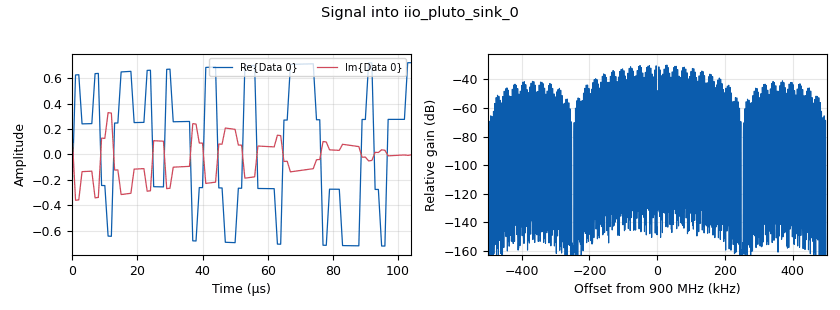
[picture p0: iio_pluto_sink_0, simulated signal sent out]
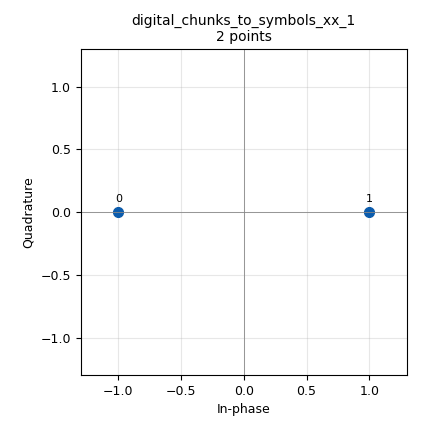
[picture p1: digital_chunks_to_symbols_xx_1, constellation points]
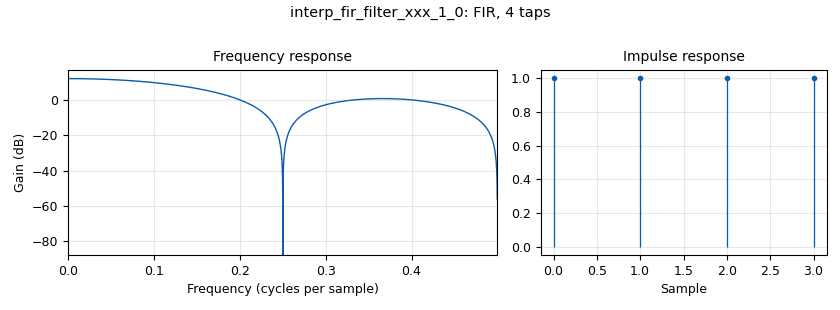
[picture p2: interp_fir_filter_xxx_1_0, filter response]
options:
  parameters:
    author: wes
    generate_options: qt_gui
    id: lab4_random
    output_language: python
    title: Lab 4
  states: {}

blocks:
- name: PLL_ON
  id: variable_qtgui_chooser
  parameters:
    gui_hint: 13,1,1,1
    label: PLL Select
    label0: PLL ON
    label1: PLL OFF
    num_opts: '2'
    option1: '1'
    type: int
    value: '0'
  states: {}
- name: axis
  id: variable
  parameters:
    value: '2'
  states: {}
- name: buff_size
  id: variable
  parameters:
    value: '32768'
  states: {}
- name: bw
  id: variable
  parameters:
    value: '1'
  states: {}
- name: const_bpsk
  id: variable_constellation
  parameters:
    const_points: digital.psk_2()[0]
    dims: '1'
    precision: '8'
    rot_sym: '2'
    sym_map: digital.psk_2()[1]
    type: calcdist
  states: {}
- name: const_qpsk
  id: variable_constellation
  parameters:
    const_points: digital.psk_4()[0]
    dims: '1'
    precision: '8'
    rot_sym: '4'
    sym_map: digital.psk_4()[1]
    type: calcdist
  states: {}
- name: delay
  id: variable_qtgui_range
  parameters:
    gui_hint: 11, 1,1,1
    label: Delay (samples)
    orient: Qt.Horizontal
    start: '0'
    step: '1'
    stop: delay_limit
    value: '0'
  states: {state: disabled}
- name: delay
  id: variable
  parameters:
    value: rand.randint(10,delay_limit-10)
  states: {}
- name: delay_iir
  id: variable_qtgui_range
  parameters:
    gui_hint: 14, 1,1,1
    label: Equalizer Delay (samples)
    orient: Qt.Horizontal
    start: '1'
    step: '1'
    stop: delay_limit
    value: '1'
  states: {}
- name: delay_limit
  id: variable
  parameters:
    value: '64'
  states: {}
- name: echo_gain
  id: variable_qtgui_range
  parameters:
    gui_hint: 11, 0,1,1
    label: Echo Path Gain (A)
    orient: Qt.Horizontal
    start: '0'
    step: '0.01'
    stop: '1'
    value: '0'
  states: {state: disabled}
- name: echo_gain
  id: variable
  parameters:
    value: rand.uniform(0.2,0.9)
  states: {}
- name: echo_gain_iir
  id: variable_qtgui_range
  parameters:
    gui_hint: 14, 0,1,1
    label: Equalizer Gain (A)
    orient: Qt.Horizontal
    start: '0'
    step: '0.01'
    stop: '1'
    value: '0'
  states: {}
- name: equalize_on
  id: variable_qtgui_chooser
  parameters:
    gui_hint: 13,0,1,1
    label: Equalizer Select
    label0: Equalizer Off
    label1: Equalizer On
    num_opts: '2'
    option1: '1'
    type: int
    value: '0'
  states: {}
- name: fo
  id: variable_qtgui_range
  parameters:
    gui_hint: 12,0,1,1
    label: Frequency Offset (Hz)
    orient: Qt.Horizontal
    start: '-10000'
    step: '1'
    stop: '10000'
    value: '800'
  states: {}
- name: fps
  id: variable
  parameters:
    value: '30'
  states: {}
- name: freqc
  id: variable
  parameters:
    value: '900'
  states: {}
- name: freqc_
  id: variable_qtgui_range
  parameters:
    gui_hint: 10, 0,1,1
    label: Carrier (MHz)
    orient: Qt.Horizontal
    start: '70'
    step: '.01'
    stop: '6000'
    value: freqc
  states: {}
- name: gain_
  id: variable_qtgui_range
  parameters:
    gui_hint: 10, 1,1,1
    label: Gain (Amp)
    orient: Qt.Horizontal
    start: '0.1'
    step: '0.01'
    stop: '1'
    value: '0.5'
  states: {}
- name: h_filt
  id: variable
  parameters:
    value: '[1,1,1,1]'
  states: {}
- name: iir_taps
  id: variable
  parameters:
    value: iir_taps_2
  states: {}
- name: iir_taps_2
  id: variable
  parameters:
    value: np.concatenate( ([1], np.zeros(int(delay_iir-1)),[-echo_gain_iir],np.zeros(int(delay_limit-delay_iir)))     )
  states: {}
- name: lw
  id: variable
  parameters:
    value: '2'
  states: {}
- name: phase_shift
  id: variable_qtgui_check_box
  parameters:
    'false': '0'
    gui_hint: 12,1,1,1
    label: PI Phase Shift
    'true': '1'
    type: int
    value: '1'
  states: {}
- name: pn5
  id: variable
  parameters:
    value: '[1,-1,1,-1,1, 1, 1, -1, 1, 1, -1, -1, -1, 1, 1, 1, 1, 1, -1, -1, 1, 1, -1, 1, -1, -1, 1, -1, -1, -1, -1]'
  states: {}
- name: pn5_up
  id: variable
  parameters:
    value: sp.upfirdn( h_filt, pn5, sps )
  states: {}
- name: pn6
  id: variable
  parameters:
    value: '[1, 1, 1, 1, 1, 1, -1, 1, -1, 1, -1, 1, 1, -1, -1, 1, 1, -1, 1, 1, 1, -1, 1, 1, -1, 1, -1, -1, 1, -1, -1, 1, 1, 1, -1, -1, -1, 1, -1, 1, 1, 1, 1, -1, -1, 1, -1, 1, -1, -1, -1, 1, 1, -1, -1, -1, -1, 1, -1, -1, -1 -1 -1] '
  states: {}
- name: pn6_up
  id: variable
  parameters:
    value: sp.upfirdn( h_filt, pn6, sps )
  states: {}
- name: samp_rate
  id: variable
  parameters:
    value: '1000'
  states: {}
- name: sps
  id: variable
  parameters:
    value: '4'
  states: {}
- name: analog_agc_xx_0
  id: analog_agc_xx
  parameters:
    gain: '1.0'
    max_gain: '65536'
    rate: '1e-4'
    reference: '1.0'
    type: complex
  states: {}
- name: analog_sig_source_x_0
  id: analog_sig_source_x
  parameters:
    amp: '1'
    freq: fo
    offset: '0'
    phase: '0'
    samp_rate: samp_rate*1000
    type: complex
    waveform: analog.GR_COS_WAVE
  states: {}
- name: blocks_add_xx_0
  id: blocks_add_xx
  parameters:
    type: complex
  states: {}
- name: blocks_complex_to_real_0
  id: blocks_complex_to_real
  parameters: {}
  states: {}
- name: blocks_delay_0
  id: blocks_delay
  parameters:
    delay: delay
    type: complex
  states: {}
- name: blocks_multiply_const_vxx_0
  id: blocks_multiply_const_vxx
  parameters:
    const: 'gain_ '
    type: complex
  states: {}
- name: blocks_multiply_const_vxx_1
  id: blocks_multiply_const_vxx
  parameters:
    const: echo_gain
    type: complex
  states: {}
- name: blocks_multiply_const_vxx_2
  id: blocks_multiply_const_vxx
  parameters:
    const: (1/63/sps)*np.exp(1j*pi*phase_shift)
    type: complex
  states: {}
- name: blocks_multiply_xx_0
  id: blocks_multiply_xx
  parameters:
    type: complex
  states: {}
- name: blocks_null_sink_0
  id: blocks_null_sink
  parameters:
    type: complex
  states: {}
- name: blocks_selector_0
  id: blocks_selector
  parameters:
    enabled: 'True'
    input_index: PLL_ON
    num_inputs: '2'
    num_outputs: '1'
    output_index: '0'
    type: complex
  states: {}
- name: blocks_selector_0_0
  id: blocks_selector
  parameters:
    enabled: 'True'
    input_index: equalize_on
    num_inputs: '2'
    num_outputs: '1'
    output_index: '0'
    type: complex
  states: {}
- name: blocks_tag_gate_0
  id: blocks_tag_gate
  parameters:
    propagate_tags: 'False'
    single_key: '"amp_est"'
    type: complex
  states: {}
- name: blocks_tag_gate_0_0
  id: blocks_tag_gate
  parameters:
    propagate_tags: 'False'
    single_key: '"corr_est"'
    type: complex
  states: {}
- name: blocks_tag_gate_0_0_0
  id: blocks_tag_gate
  parameters:
    propagate_tags: 'False'
    single_key: '"time_est"'
    type: complex
  states: {}
- name: digital_chunks_to_symbols_xx_1
  id: digital_chunks_to_symbols_xx
  parameters:
    dimension: '1'
    in_type: byte
    out_type: complex
    symbol_table: const_bpsk.points()
  states: {}
- name: digital_corr_est_cc_0
  id: digital_corr_est_cc
  parameters:
    mark_delay: '0'
    sps: sps
    symbols: pn6_up
    threshold: '0.7'
    threshold_method: digital.THRESHOLD_ABSOLUTE
  states: {}
- name: digital_costas_loop_cc_0
  id: digital_costas_loop_cc
  parameters:
    order: '2'
    w: 3.14/100
  states: {}
- name: digital_glfsr_source_x_0
  id: digital_glfsr_source_x
  parameters:
    degree: '6'
    mask: '0'
    repeat: 'True'
    seed: '1'
    type: byte
  states: {}
- name: epy_module_0
  id: epy_module
  parameters:
    source_code: |
      import sys
      import os

      # run the command to generate usb.dat
      cmd1 = 'iio_info -s | grep "usb" | awk \'{print $9}\' | awk -F[ \'{print $2}\' | awk -F] \'{print $1}\' > usb.dat'
      os.system(cmd1)

      # open usb.dat and print its entries
      f = open('usb.dat','r')

      strUSB = f.readlines()                  # read all the lines from iio_info -s
      num_devices = len(strUSB)-1             # get the number of devices

      # clean-up
      f.close()                               # close file once we're done.

      # remove file
      cmd2 = 'rm usb.dat'
      os.system(cmd2)


      if num_devices > 0:
          strUSB = strUSB[1:]

          for n in range(num_devices):
              strUSB[n] = strUSB[n].rstrip()  # strip the "\n" chars out

          TX = strUSB[0]
          RX = strUSB[1]

          print('TX set to Pluto: ' + TX)
          print('Rx set to Pluto: ' + RX)
      else:
          print('No Devices Found!')

      print('\n')

      #print(strUSB)                           # debug print          
  states: {}
- name: iio_pluto_sink_0
  id: iio_pluto_sink
  parameters:
    attenuation1: '10.0'
    auto_filter: 'True'
    bandwidth: '20000000'
    buffer_size: buff_size
    cyclic: 'False'
    frequency: int(freqc_*1e6)
    samplerate: int(samp_rate*1000)
    uri: epy_module_0.TX
  states: {}
- name: iio_pluto_source_0
  id: iio_pluto_source
  parameters:
    auto_filter: 'True'
    bandwidth: '20000000'
    bbdc: 'True'
    buffer_size: buff_size
    frequency: int(freqc_*1e6)
    gain1: '''manual'''
    manual_gain1: '32'
    quadrature: 'True'
    rfdc: 'True'
    samplerate: int(samp_rate*1000)
    uri: epy_module_0.RX
  states: {}
- name: iir_filter_xxx_0
  id: iir_filter_xxx
  parameters:
    fbtaps: iir_taps
    fftaps: (1)
    type: ccz
  states: {}
- name: import_0
  id: import
  parameters:
    imports: import random as rand
  states: {}
- name: import_1
  id: import
  parameters:
    imports: import numpy as np
  states: {}
- name: import_1_0
  id: import
  parameters:
    imports: from math import pi
  states: {}
- name: import_1_1
  id: import
  parameters:
    imports: from scipy import signal as sp
  states: {}
- name: interp_fir_filter_xxx_1_0
  id: interp_fir_filter_xxx
  parameters:
    interp: sps
    taps: (1,1,1,1)
    type: ccc
  states: {}
- name: qtgui_freq_sink_x_0
  id: qtgui_freq_sink_x
  parameters:
    affinity: '0'
    bw: samp_rate*1e3
    ctrlpanel: 'True'
    fc: '0'
    fftsize: '4096'
    grid: 'True'
    gui_hint: tab0@1:5,0,5,1
    label1: In-Phase
    type: complex
    update_time: 1/fps
    wintype: firdes.WIN_BLACKMAN_hARRIS
  states: {}
- name: qtgui_time_sink_x_0_0
  id: qtgui_time_sink_x
  parameters:
    ctrlpanel: 'True'
    grid: 'True'
    gui_hint: tab0@0:5,0,5,1
    name: '"Cross Correlation"'
    size: '4096'
    srate: samp_rate*1000
    type: float
    ymax: '2'
    ymin: '-2'
  states: {}
- name: tab0
  id: qtgui_tab_widget
  parameters:
    gui_hint: 0,0,10,2
    label0: Cross-Correlation
    label1: Spectrum
    num_tabs: '2'
  states: {}
- name: virtual_sink_0
  id: virtual_sink
  parameters:
    stream_id: xcorr_out
  states: {}
- name: virtual_source_0
  id: virtual_source
  parameters:
    stream_id: xcorr_out
  states: {}

connections:
- [analog_agc_xx_0, '0', blocks_selector_0, '1']
- [analog_agc_xx_0, '0', digital_costas_loop_cc_0, '0']
- [analog_sig_source_x_0, '0', blocks_multiply_xx_0, '1']
- [blocks_add_xx_0, '0', blocks_multiply_const_vxx_0, '0']
- [blocks_complex_to_real_0, '0', qtgui_time_sink_x_0_0, '0']
- [blocks_delay_0, '0', blocks_multiply_const_vxx_1, '0']
- [blocks_multiply_const_vxx_0, '0', blocks_multiply_xx_0, '0']
- [blocks_multiply_const_vxx_1, '0', blocks_add_xx_0, '1']
- [blocks_multiply_const_vxx_2, '0', blocks_tag_gate_0, '0']
- [blocks_multiply_xx_0, '0', iio_pluto_sink_0, '0']
- [blocks_selector_0, '0', blocks_selector_0_0, '0']
- [blocks_selector_0, '0', iir_filter_xxx_0, '0']
- [blocks_selector_0_0, '0', digital_corr_est_cc_0, '0']
- [blocks_selector_0_0, '0', qtgui_freq_sink_x_0, '0']
- [blocks_tag_gate_0, '0', blocks_tag_gate_0_0, '0']
- [blocks_tag_gate_0_0, '0', blocks_tag_gate_0_0_0, '0']
- [blocks_tag_gate_0_0_0, '0', virtual_sink_0, '0']
- [digital_chunks_to_symbols_xx_1, '0', interp_fir_filter_xxx_1_0, '0']
- [digital_corr_est_cc_0, '0', blocks_null_sink_0, '0']
- [digital_corr_est_cc_0, '1', blocks_multiply_const_vxx_2, '0']
- [digital_costas_loop_cc_0, '0', blocks_selector_0, '0']
- [digital_glfsr_source_x_0, '0', digital_chunks_to_symbols_xx_1, '0']
- [iio_pluto_source_0, '0', analog_agc_xx_0, '0']
- [iir_filter_xxx_0, '0', blocks_selector_0_0, '1']
- [interp_fir_filter_xxx_1_0, '0', blocks_add_xx_0, '0']
- [interp_fir_filter_xxx_1_0, '0', blocks_delay_0, '0']
- [virtual_source_0, '0', blocks_complex_to_real_0, '0']

metadata:
  file_format: 1
